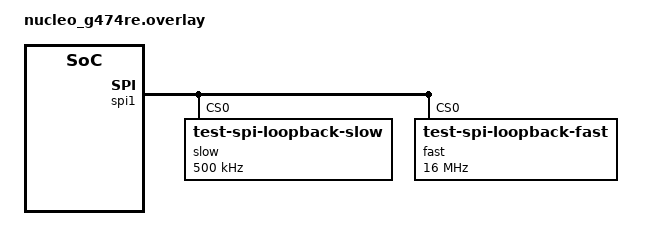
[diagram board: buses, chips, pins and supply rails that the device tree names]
/*
 * Copyright (c) 2021 Thomas Stranger
 *
 * SPDX-License-Identifier: Apache-2.0
 */

&dma1 {
	status = "okay";
};

&dma2 {
	status = "okay";
};

tst_dma0: &dmamux1 {
	status = "okay";
};

&rcc {
	apb2-prescaler = <2>;
};

&spi1 {
	dmas = <&dmamux1 0 11 (STM32_DMA_PERIPH_TX | STM32_DMA_PRIORITY_HIGH)>,
	       <&dmamux1 8 10 (STM32_DMA_PERIPH_RX | STM32_DMA_PRIORITY_HIGH)>;
	dma-names = "tx", "rx";
	slow@0 {
		compatible = "test-spi-loopback-slow";
		reg = <0>;
		spi-max-frequency = <500000>;
	};
	fast@0 {
		compatible = "test-spi-loopback-fast";
		reg = <0>;
		spi-max-frequency = <16000000>;
	};
};

&dmamux1 {
	status = "okay";
};
